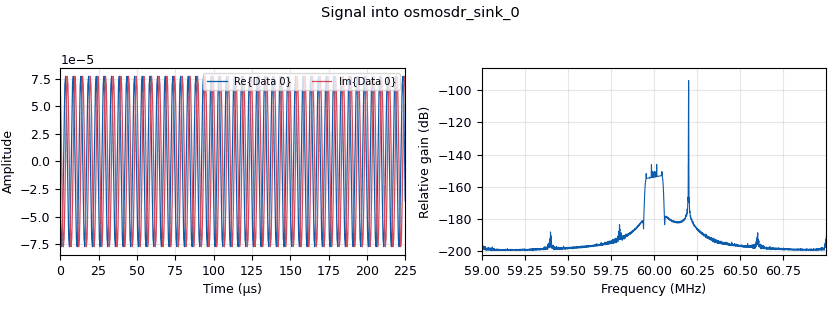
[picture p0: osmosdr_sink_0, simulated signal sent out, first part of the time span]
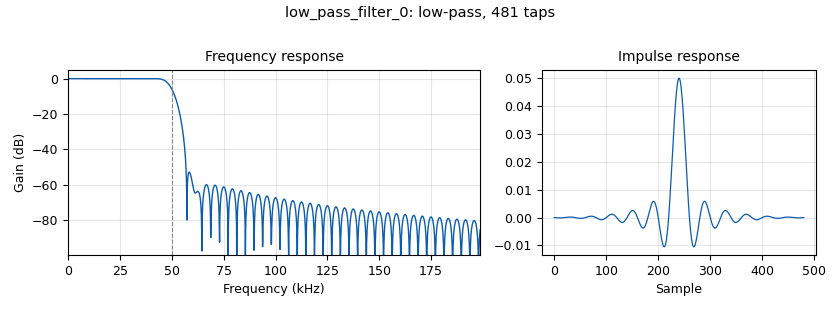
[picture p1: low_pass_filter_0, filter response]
options:
  parameters:
    author: sohamvhatkar
    generate_options: qt_gui
    id: transmitter
    output_language: python
    title: Not titled yet
  states: {}

blocks:
- name: samp_rate
  id: variable
  parameters:
    value: 2e6
  states: {}
- name: analog_sig_source_x_0
  id: analog_sig_source_x
  parameters:
    amp: '1'
    freq: 200e3
    offset: '0'
    phase: '0'
    samp_rate: samp_rate
    type: complex
    waveform: analog.GR_COS_WAVE
  states: {}
- name: blocks_interleaved_char_to_complex_0
  id: blocks_interleaved_char_to_complex
  parameters:
    scale_factor: '1.0'
    vector_input: 'False'
  states: {}
- name: blocks_multiply_const_vxx_0
  id: blocks_multiply_const_vxx
  parameters:
    const: '0.6'
    type: complex
  states: {}
- name: blocks_multiply_xx_0
  id: blocks_multiply_xx
  parameters:
    type: complex
  states: {}
- name: blocks_repeat_0
  id: blocks_repeat
  parameters:
    interp: int(2e6/500)
    type: complex
  states: {}
- name: blocks_vector_source_x_0
  id: blocks_vector_source_x
  parameters:
    repeat: 'True'
    type: byte
    vector: (1,0,1,0,1,0,1,0,1,1,1,0,0,1,0,1,0,1,0,1,1,1,0,0,0,1)
  states: {}
- name: low_pass_filter_0
  id: low_pass_filter
  parameters:
    cutoff_freq: 50e3
    decim: '1'
    gain: '1'
    samp_rate: samp_rate
    type: fir_filter_ccf
    width: 10e3
    win: window.WIN_HAMMING
  states: {}
- name: osmosdr_sink_0
  id: osmosdr_sink
  parameters:
    args: hackrf=0
    bb_gain0: '20'
    freq0: 60e6
    gain0: '20'
    if_gain0: '20'
    sample_rate: samp_rate
    sync: sync
    type: fc32
  states: {}

connections:
- [analog_sig_source_x_0, '0', blocks_multiply_xx_0, '0']
- [blocks_interleaved_char_to_complex_0, '0', blocks_repeat_0, '0']
- [blocks_multiply_const_vxx_0, '0', osmosdr_sink_0, '0']
- [blocks_multiply_xx_0, '0', low_pass_filter_0, '0']
- [blocks_repeat_0, '0', blocks_multiply_xx_0, '1']
- [blocks_vector_source_x_0, '0', blocks_interleaved_char_to_complex_0, '0']
- [low_pass_filter_0, '0', blocks_multiply_const_vxx_0, '0']

metadata:
  file_format: 1
  grc_version: 3.10.12.0
